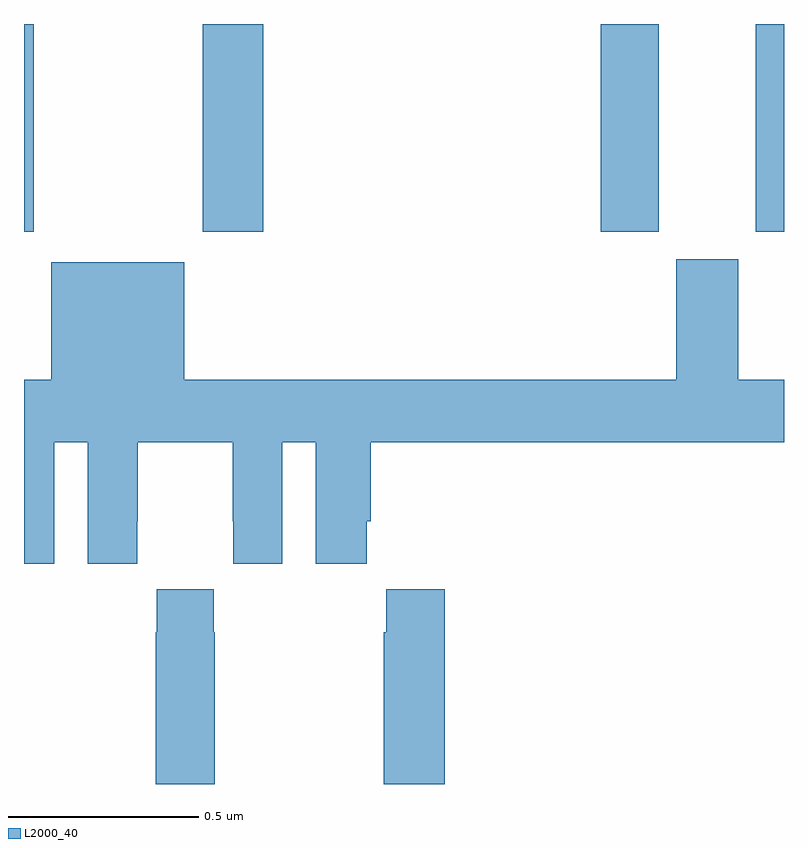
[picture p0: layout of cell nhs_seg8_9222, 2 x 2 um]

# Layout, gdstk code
import gdstk
lib = gdstk.Library(unit=1e-6, precision=1e-09)
def R(c, l, rs):  # rectangles x0, y0, x1, y1
    for r in rs: c.add(gdstk.rectangle(r[:2], r[2:], *l))
def P(c, l, *ps):  # polygons
    for p in ps: c.add(gdstk.Polygon(p, *l))
L2000_40 = (2000, 40)

nhs_seg8_9222 = lib.new_cell('nhs_seg8_9222')
R(nhs_seg8_9222, L2000_40, [(233,1150.353,233.025,1150.9), (233.47,1150.353,233.63,1150.9), (234.518,1150.353,234.67,1150.9), (234.926,1150.353,235,1150.9)])
P(nhs_seg8_9222, L2000_40, [(233.08,1149.8),(233.168,1149.8),(233.168,1149.48),(233.298,1149.48),(233.298,1149.592),(233.299,1149.592),(233.299,1149.8),(233.549,1149.8),(233.549,1149.592),(233.55,1149.592),(233.55,1149.48),(233.68,1149.48),(233.68,1149.8),(233.768,1149.8),(233.768,1149.48),(233.902,1149.48),(233.902,1149.592),(233.912,1149.592),(233.912,1149.8),(235,1149.8),(235,1149.964),(234.88,1149.964),(234.88,1150.281),(234.716,1150.281),(234.716,1149.964),(233.422,1149.964),(233.422,1150.273),(233.072,1150.273),(233.072,1149.964),(233,1149.964),(233,1149.48),(233.08,1149.48)],
  [(233.502,1149.299),(233.499,1149.299),(233.499,1149.412),(233.349,1149.412),(233.349,1149.299),(233.347,1149.299),(233.347,1148.9),(233.502,1148.9)],
  [(234.107,1149.412),(233.953,1149.412),(233.953,1149.299),(233.947,1149.299),(233.947,1148.9),(234.107,1148.9)])

lib.write_gds('nhs_seg8_9222.gds')
